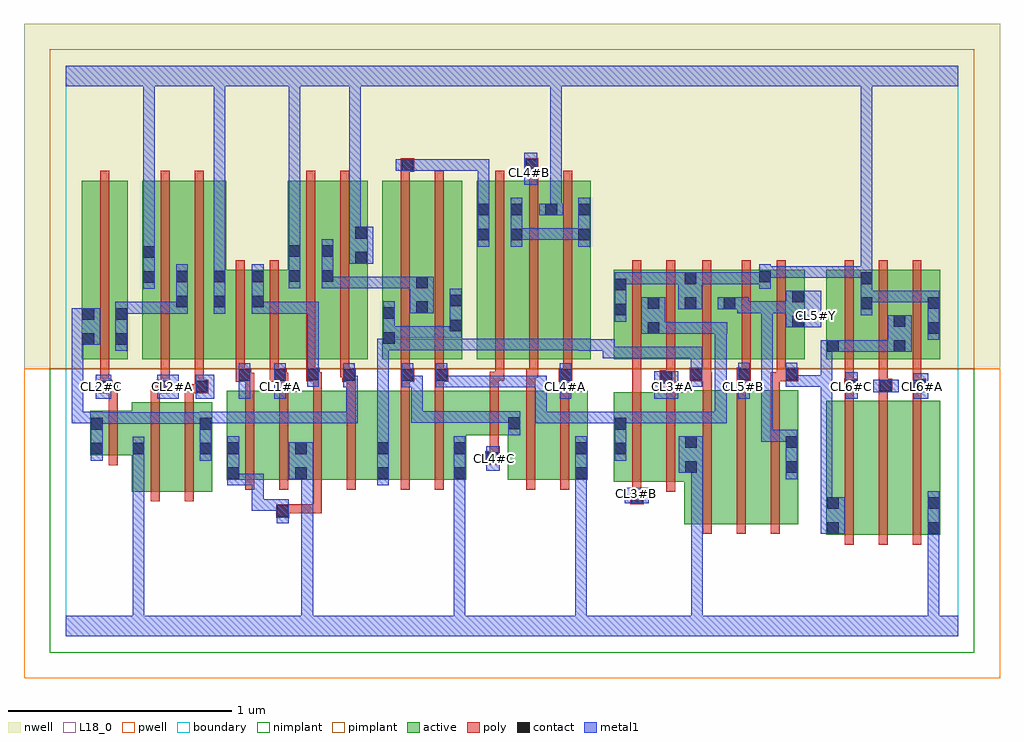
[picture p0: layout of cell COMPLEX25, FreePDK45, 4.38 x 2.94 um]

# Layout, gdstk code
import gdstk
lib = gdstk.Library(unit=1e-6, precision=1e-09)
def R(c, l, rs):  # rectangles x0, y0, x1, y1
    for r in rs: c.add(gdstk.rectangle(r[:2], r[2:], *l))
def A(c, l, x, y, w, h, nx, ny, dx, dy):  # array of equal rectangles
    R(c, l, [(x+i*dx, y+j*dy, x+i*dx+w, y+j*dy+h) for i in range(nx) for j in range(ny)])
active = (1, 0)
pwell = (2, 0)
nwell = (3, 0)
nimplant = (4, 0)
pimplant = (5, 0)
poly = (9, 0)
contact = (10, 0)
metal1 = (11, 0)
L18_0 = (18, 0)
boundary = (235, 0)

complex25 = lib.new_cell('COMPLEX25')
A(complex25, active, 0.994, 1.244, 0.208, 0.8, 3, 1, 0.424, 0)
R(complex25, active, [(3.408,0.456,3.468,1.056), (3.408,0.456,3.588,1.056), (3.588,0.456,3.74,1.056), (3.74,0.456,3.92,1.056), (3.86,0.456,3.92,1.056), (2.772,0.504,2.952,1.104), (2.952,0.504,3.104,1.104), (3.104,0.504,3.284,1.104), (3.224,0.556,3.284,1.104), (0.296,0.65,0.476,1.05), (0.476,0.65,0.656,1.05), (2.456,0.694,2.636,1.094), (2.636,0.694,2.832,1.094), (0.72,0.702,0.9,1.102), (0.72,0.702,0.78,1.102), (0.9,0.702,1.084,1.102), (1.024,0.702,1.084,0.874), (1.024,0.702,1.204,1.102), (1.204,0.702,1.452,1.102), (1.392,0.702,1.452,0.874), (1.392,0.702,1.598,1.102), (1.598,0.702,1.794,1.102), (1.734,0.702,1.794,0.902), (1.98,0.702,2.16,1.102), (2.16,0.702,2.34,1.102), (2.28,0.702,2.34,1.102), (2.772,0.73,2.832,0.902), (0.596,0.756,0.656,1.05), (2.456,0.756,2.516,1.094), (0.108,0.812,0.168,1.012), (0.108,0.812,0.356,1.012), (0.296,0.812,0.356,1.012), (1.734,0.902,2.04,1.102), (1.98,0.926,2.04,0.986), (0.07,1.244,0.13,2.044), (0.07,1.244,0.278,2.044), (0.218,1.244,0.278,2.044), (0.342,1.244,0.402,2.044), (0.342,1.244,0.55,2.044), (0.49,1.244,0.718,2.044), (0.658,1.244,0.89,1.644), (0.83,1.244,0.89,1.644), (0.83,1.244,1.054,1.644), (1.142,1.244,1.202,2.044), (1.142,1.244,1.354,2.044), (1.418,1.244,1.478,2.044), (1.566,1.244,1.626,2.044), (1.566,1.244,1.778,2.044), (1.718,1.244,1.778,2.044), (1.842,1.244,1.902,2.044), (1.99,1.244,2.206,2.044), (2.146,1.244,2.354,2.044), (2.294,1.244,2.354,2.044), (2.456,1.244,2.516,1.644), (2.456,1.244,2.664,1.644), (2.604,1.244,2.664,1.644), (2.604,1.244,2.83,1.644), (2.77,1.244,2.83,1.644), (2.77,1.244,3.006,1.644), (2.946,1.244,3.006,1.644), (2.946,1.244,3.164,1.644), (3.104,1.244,3.164,1.644), (3.104,1.244,3.312,1.644), (3.252,1.244,3.312,1.644), (3.408,1.244,3.468,1.644), (3.408,1.244,3.62,1.644), (3.56,1.244,3.62,1.644), (3.56,1.244,3.768,1.644), (3.708,1.244,3.768,1.644), (3.708,1.244,3.92,1.644), (3.86,1.244,3.92,1.644), (1.294,1.452,1.354,2.044), (0.49,1.472,0.55,2.044), (0.658,1.472,0.718,1.644), (0.994,1.586,1.054,1.758), (1.99,1.686,2.05,2.044), (2.146,1.686,2.206,2.044)])
R(complex25, pwell, [(-0.188,-0.188,4.188,1.2)])
R(complex25, nwell, [(-0.188,1.2,4.188,2.748)])
R(complex25, nimplant, [(-0.072,-0.072,4.072,1.2)])
R(complex25, pimplant, [(-0.072,1.2,4.072,2.632)])
A(complex25, poly, 3.492, 0.412, 0.04, 0.688, 3, 1, 0.152, 0)
A(complex25, poly, 2.856, 0.46, 0.04, 0.688, 3, 1, 0.152, 0)
A(complex25, poly, 0.804, 0.658, 0.04, 0.488, 4, 1, 0.152, 0)
A(complex25, poly, 3.492, 1.06, 0.04, 0.076, 3, 1, 0.152, 0)
A(complex25, poly, 2.856, 1.108, 0.04, 0.076, 3, 1, 0.152, 0)
A(complex25, poly, 3.492, 1.116, 0.04, 0.124, 3, 1, 0.152, 0)
A(complex25, poly, 1.926, 1.2, 0.04, 0.888, 3, 1, 0.152, 0)
A(complex25, poly, 3.492, 1.2, 0.04, 0.488, 3, 1, 0.152, 0)
R(complex25, poly, [(0.942,0.532,1.002,0.592), (0.962,0.552,1.148,0.592), (1.108,0.552,1.148,0.592), (1.108,0.552,1.148,0.592), (1.108,0.552,1.148,0.592), (1.108,0.552,1.148,0.698), (2.53,0.594,2.59,0.654), (0.38,0.606,0.42,1.094), (0.532,0.606,0.572,1.094), (2.54,0.614,2.58,0.69), (2.54,0.65,2.58,1.138), (2.692,0.65,2.732,1.138), (1.502,0.658,1.542,1.146), (1.654,0.658,1.694,1.146), (2.064,0.658,2.104,1.146), (2.216,0.658,2.256,1.146), (0.192,0.768,0.232,1.056), (1.88,0.77,1.94,0.83), (1.9,0.79,1.94,0.898), (1.9,0.858,1.94,1.146), (0.192,1.016,0.232,1.13), (0.38,1.054,0.42,1.13), (0.532,1.054,0.572,1.13), (0.148,1.09,0.208,1.15), (0.168,1.09,0.208,1.13), (0.168,1.09,0.232,1.13), (0.38,1.09,0.446,1.13), (0.406,1.09,0.446,1.13), (0.406,1.09,0.466,1.15), (0.532,1.09,0.618,1.13), (0.578,1.09,0.618,1.13), (0.578,1.09,0.638,1.15), (3.49,1.096,3.55,1.156), (3.644,1.096,3.684,1.136), (3.644,1.096,3.684,1.136), (3.644,1.096,3.704,1.156), (3.796,1.096,3.856,1.156), (2.54,1.098,2.58,1.174), (2.692,1.098,2.732,1.174), (0.804,1.106,0.844,1.182), (0.956,1.106,0.996,1.182), (1.108,1.106,1.148,1.184), (1.26,1.106,1.3,1.182), (1.502,1.106,1.542,1.182), (1.654,1.106,1.694,1.182), (1.9,1.106,1.94,1.186), (2.064,1.106,2.104,1.2), (2.216,1.106,2.256,1.182), (0.154,1.11,0.194,1.24), (0.426,1.11,0.466,1.24), (0.578,1.11,0.618,1.24), (3.492,1.116,3.532,1.156), (3.492,1.116,3.532,1.156), (3.796,1.116,3.836,1.156), (3.796,1.116,3.836,1.156), (2.54,1.134,2.58,1.174), (2.54,1.134,2.58,1.174), (2.54,1.134,2.58,1.174), (2.54,1.134,2.58,1.24), (2.662,1.134,2.732,1.194), (0.762,1.142,0.83,1.202), (0.79,1.142,0.83,1.182), (0.79,1.142,0.844,1.182), (0.914,1.142,0.99,1.202), (0.95,1.142,0.99,1.182), (0.95,1.142,0.996,1.182), (1.24,1.142,1.3,1.202), (1.502,1.142,1.562,1.202), (1.654,1.142,1.714,1.202), (2.21,1.142,2.27,1.202), (1.078,1.144,1.138,1.204), (1.098,1.144,1.138,1.184), (1.098,1.144,1.148,1.184), (2.798,1.144,2.894,1.204), (2.854,1.144,2.894,1.184), (2.854,1.144,2.896,1.184), (3.008,1.144,3.07,1.204), (3.16,1.144,3.228,1.184), (3.188,1.144,3.228,1.184), (3.188,1.144,3.284,1.204), (1.9,1.146,1.954,1.186), (1.914,1.146,1.954,1.186), (1.914,1.146,1.966,1.186), (1.926,1.146,1.966,1.24), (2.692,1.154,2.732,1.194), (2.692,1.154,2.732,1.194), (2.692,1.154,2.732,1.24), (2.064,1.16,2.118,1.2), (2.078,1.16,2.118,1.2), (2.078,1.16,2.118,1.2), (2.078,1.16,2.118,1.24), (0.762,1.162,0.802,1.24), (0.914,1.162,0.954,1.24), (1.23,1.162,1.27,1.24), (1.23,1.162,1.28,1.202), (1.24,1.162,1.28,1.202), (1.502,1.162,1.542,1.202), (1.502,1.162,1.542,1.202), (1.502,1.162,1.542,1.24), (1.654,1.162,1.694,1.202), (1.654,1.162,1.694,1.202), (1.654,1.162,1.694,1.24), (2.23,1.162,2.27,1.202), (2.23,1.162,2.27,1.202), (2.23,1.162,2.27,1.24), (1.078,1.164,1.118,1.24), (2.854,1.164,2.894,1.24), (3.03,1.164,3.07,1.204), (3.03,1.164,3.07,1.204), (3.03,1.164,3.07,1.24), (3.188,1.164,3.228,1.24), (0.154,1.2,0.194,2.088), (0.426,1.2,0.466,2.088), (0.578,1.2,0.618,2.088), (0.762,1.2,0.802,1.688), (0.914,1.2,0.954,1.688), (1.078,1.2,1.118,2.088), (1.23,1.2,1.27,2.088), (1.502,1.2,1.542,2.088), (1.654,1.2,1.694,2.088), (2.54,1.2,2.58,1.688), (2.692,1.2,2.732,1.688), (2.854,1.2,2.894,1.688), (3.03,1.2,3.07,1.688), (3.188,1.2,3.228,1.688), (1.502,2.048,1.542,2.124), (2.078,2.048,2.118,2.124), (1.502,2.084,1.562,2.144), (2.058,2.084,2.118,2.144)])
R(complex25, contact, [(3.412,0.46,3.464,0.512), (3.864,0.46,3.916,0.512), (0.946,0.536,0.998,0.588), (3.412,0.572,3.464,0.624), (3.864,0.572,3.916,0.624), (2.534,0.598,2.586,0.65), (0.724,0.706,0.776,0.758), (1.028,0.706,1.08,0.758), (1.396,0.706,1.448,0.758), (1.738,0.706,1.79,0.758), (2.284,0.706,2.336,0.758), (2.776,0.734,2.828,0.786), (3.228,0.734,3.28,0.786), (1.884,0.774,1.936,0.826), (0.112,0.816,0.164,0.868), (0.3,0.816,0.352,0.868), (0.6,0.816,0.652,0.868), (2.46,0.816,2.512,0.868), (0.724,0.818,0.776,0.87), (1.028,0.818,1.08,0.87), (1.396,0.818,1.448,0.87), (1.738,0.818,1.79,0.87), (2.284,0.818,2.336,0.87), (2.776,0.846,2.828,0.898), (3.228,0.846,3.28,0.898), (0.112,0.928,0.164,0.98), (0.6,0.928,0.652,0.98), (2.46,0.928,2.512,0.98), (1.984,0.93,2.036,0.982), (0.152,1.094,0.204,1.146), (0.41,1.094,0.462,1.146), (0.582,1.094,0.634,1.146), (3.494,1.1,3.546,1.152), (3.648,1.1,3.7,1.152), (3.8,1.1,3.852,1.152), (2.666,1.138,2.718,1.19), (0.774,1.146,0.826,1.198), (0.934,1.146,0.986,1.198), (1.244,1.146,1.296,1.198), (1.506,1.146,1.558,1.198), (1.658,1.146,1.71,1.198), (2.214,1.146,2.266,1.198), (1.082,1.148,1.134,1.2), (2.802,1.148,2.854,1.2), (3.014,1.148,3.066,1.2), (3.228,1.148,3.28,1.2), (3.412,1.276,3.464,1.328), (3.712,1.276,3.764,1.328), (0.074,1.308,0.126,1.36), (0.222,1.308,0.274,1.36), (1.422,1.312,1.474,1.364), (2.608,1.358,2.66,1.41), (3.864,1.358,3.916,1.41), (1.722,1.368,1.774,1.42), (3.256,1.386,3.308,1.438), (3.712,1.388,3.764,1.44), (0.074,1.42,0.126,1.472), (0.222,1.42,0.274,1.472), (1.422,1.424,1.474,1.476), (2.46,1.44,2.512,1.492), (1.57,1.45,1.622,1.502), (2.774,1.468,2.826,1.52), (2.95,1.468,3.002,1.52), (3.564,1.468,3.616,1.52), (2.608,1.47,2.66,1.522), (3.864,1.47,3.916,1.522), (0.494,1.476,0.546,1.528), (0.662,1.476,0.714,1.528), (0.834,1.476,0.886,1.528), (1.722,1.48,1.774,1.532), (3.256,1.498,3.308,1.55), (2.46,1.552,2.512,1.604), (1.57,1.562,1.622,1.614), (2.774,1.58,2.826,1.632), (3.564,1.58,3.616,1.632), (0.346,1.586,0.398,1.638), (0.494,1.588,0.546,1.64), (0.662,1.588,0.714,1.64), (0.834,1.588,0.886,1.64), (3.108,1.588,3.16,1.64), (0.998,1.59,1.05,1.642), (1.146,1.59,1.198,1.642), (1.298,1.672,1.35,1.724), (0.346,1.698,0.398,1.75), (0.998,1.702,1.05,1.754), (1.146,1.702,1.198,1.754), (1.846,1.776,1.898,1.828), (1.994,1.776,2.046,1.828), (2.298,1.776,2.35,1.828), (1.298,1.784,1.35,1.836), (1.846,1.888,1.898,1.94), (1.994,1.888,2.046,1.94), (2.15,1.888,2.202,1.94), (2.298,1.888,2.35,1.94), (1.506,2.088,1.558,2.14), (2.062,2.088,2.114,2.14)])
R(complex25, metal1, [(0,0,4,0.092), (0.3,0.04,0.352,0.092), (0.3,0.04,0.352,0.092), (0.3,0.04,0.352,0.092), (0.3,0.04,0.352,0.092), (0.3,0.04,0.352,0.84), (1.056,0.04,1.108,0.092), (1.056,0.04,1.108,0.092), (1.056,0.04,1.108,0.758), (1.738,0.04,1.79,0.092), (1.738,0.04,1.79,0.092), (1.738,0.04,1.79,0.73), (2.284,0.04,2.336,0.092), (2.284,0.04,2.336,0.092), (2.284,0.04,2.336,0.73), (2.804,0.04,2.856,0.092), (2.804,0.04,2.856,0.092), (2.804,0.04,2.856,0.092), (2.804,0.04,2.856,0.092), (2.804,0.04,2.856,0.092), (2.804,0.04,2.856,0.092), (2.804,0.04,2.856,0.786), (3.864,0.04,3.916,0.092), (3.864,0.04,3.916,0.092), (3.864,0.04,3.916,0.092), (3.864,0.04,3.916,0.092), (3.864,0.04,3.916,0.092), (3.864,0.04,3.916,0.092), (3.864,0.04,3.916,0.092), (3.864,0.04,3.916,0.092), (3.864,0.04,3.916,0.484), (3.864,0.432,3.916,0.652), (3.384,0.46,3.492,0.624), (0.946,0.508,0.998,0.616), (0.834,0.564,0.886,0.616), (0.834,0.564,0.998,0.616), (0.834,0.564,0.886,0.73), (3.384,0.572,3.436,0.624), (3.384,0.572,3.436,0.624), (3.384,0.572,3.436,1.172), (2.506,0.598,2.614,0.666), (0.724,0.678,0.776,0.73), (0.724,0.678,0.776,0.73), (0.724,0.678,0.776,0.898), (0.724,0.678,0.886,0.73), (0.834,0.678,0.886,0.73), (1.396,0.678,1.448,0.898), (1.738,0.678,1.79,0.73), (1.738,0.678,1.79,0.73), (1.738,0.678,1.79,0.73), (1.738,0.678,1.79,0.73), (1.738,0.678,1.79,0.73), (1.738,0.678,1.79,0.73), (1.738,0.678,1.79,0.73), (1.738,0.678,1.79,0.73), (1.738,0.678,1.79,0.73), (1.738,0.678,1.79,0.73), (1.738,0.678,1.79,0.898), (2.284,0.678,2.336,0.73), (2.284,0.678,2.336,0.73), (2.284,0.678,2.336,0.73), (2.284,0.678,2.336,0.73), (2.284,0.678,2.336,0.73), (2.284,0.678,2.336,0.73), (2.284,0.678,2.336,0.73), (2.284,0.678,2.336,0.73), (2.284,0.678,2.336,0.73), (2.284,0.678,2.336,0.73), (2.284,0.678,2.336,0.898), (1,0.706,1.108,0.87), (1.056,0.706,1.108,0.758), (1.056,0.706,1.108,0.758), (1.056,0.706,1.108,0.758), (1.056,0.706,1.108,0.758), (1.056,0.706,1.108,0.758), (1.056,0.706,1.108,0.758), (1.056,0.706,1.108,0.758), (1.056,0.706,1.108,0.758), (1.056,0.706,1.108,0.758), (1.056,0.706,1.108,0.758), (3.228,0.706,3.28,0.926), (2.748,0.734,2.856,0.898), (2.804,0.734,2.856,0.786), (2.804,0.734,2.856,0.786), (1.884,0.744,1.946,0.854), (0.112,0.788,0.164,1.008), (0.3,0.788,0.352,0.84), (0.3,0.788,0.352,0.84), (0.3,0.788,0.352,0.84), (0.3,0.788,0.352,0.84), (0.3,0.788,0.352,0.84), (0.3,0.788,0.352,0.84), (0.3,0.788,0.352,0.84), (0.3,0.788,0.352,0.84), (0.3,0.788,0.352,0.896), (0.6,0.788,0.652,1.008), (2.46,0.788,2.512,1.008), (1.396,0.846,1.448,0.898), (1.396,0.846,1.448,0.898), (1.396,0.846,1.448,1.336), (3.118,0.874,3.17,0.926), (3.118,0.874,3.28,0.926), (3.118,0.874,3.17,1.502), (3.228,0.874,3.28,0.926), (3.228,0.874,3.28,0.926), (1.984,0.902,2.036,1.01), (0.112,0.954,0.164,1.006), (0.112,0.954,0.164,1.006), (0.112,0.954,0.314,1.006), (0.262,0.954,0.314,1.006), (0.262,0.954,0.314,1.006), (0.262,0.954,0.314,1.006), (0.262,0.954,0.524,1.006), (0.472,0.954,0.524,1.006), (0.472,0.954,0.524,1.006), (0.472,0.954,0.524,1.006), (0.472,0.954,0.652,1.006), (0.6,0.954,0.652,1.006), (0.6,0.954,0.652,1.006), (0.026,0.956,0.078,1.008), (0.026,0.956,0.078,1.008), (0.026,0.956,0.078,1.36), (0.026,0.956,0.164,1.008), (0.112,0.956,0.164,1.008), (0.6,0.956,0.762,1.008), (0.71,0.956,0.762,1.008), (0.71,0.956,0.762,1.008), (0.71,0.956,0.762,1.008), (0.71,0.956,0.886,1.008), (0.834,0.956,0.886,1.008), (0.834,0.956,0.996,1.008), (0.944,0.956,0.996,1.008), (0.944,0.956,0.996,1.008), (0.944,0.956,0.996,1.008), (0.944,0.956,1.186,1.008), (1.134,0.956,1.186,1.008), (1.134,0.956,1.186,1.008), (1.134,0.956,1.186,1.008), (1.134,0.956,1.308,1.008), (1.256,0.956,1.308,1.008), (1.256,0.956,1.308,1.008), (1.256,0.956,1.308,1.008), (1.256,0.956,1.308,1.17), (2.104,0.956,2.156,1.008), (2.104,0.956,2.336,1.008), (2.104,0.956,2.156,1.17), (2.284,0.956,2.336,1.008), (2.284,0.956,2.336,1.008), (2.284,0.956,2.336,1.008), (2.284,0.956,2.512,1.008), (2.46,0.956,2.512,1.008), (2.46,0.956,2.512,1.008), (2.46,0.956,2.688,1.008), (2.636,0.956,2.688,1.008), (2.636,0.956,2.688,1.008), (2.636,0.956,2.688,1.008), (2.636,0.956,2.852,1.008), (2.8,0.956,2.852,1.008), (2.8,0.956,2.852,1.008), (2.8,0.956,2.852,1.008), (2.8,0.956,2.962,1.008), (2.91,0.956,2.962,1.008), (2.91,0.956,2.962,1.008), (2.91,0.956,2.962,1.008), (2.91,0.956,2.962,1.41), (1.548,0.958,1.6,1.01), (1.548,0.958,1.74,1.01), (1.548,0.958,1.6,1.17), (1.688,0.958,1.74,1.01), (1.688,0.958,1.74,1.01), (1.688,0.958,1.74,1.01), (1.688,0.958,1.914,1.01), (1.862,0.958,1.914,1.01), (1.862,0.958,1.914,1.01), (1.862,0.958,1.914,1.01), (1.862,0.958,2.036,1.01), (0.134,1.066,0.204,1.174), (0.41,1.066,0.506,1.174), (0.582,1.066,0.666,1.174), (0.774,1.066,0.826,1.226), (0.934,1.066,0.986,1.226), (2.214,1.066,2.266,1.226), (2.638,1.066,2.746,1.19), (3.014,1.066,3.066,1.228), (3.494,1.066,3.55,1.184), (3.8,1.066,3.866,1.18), (3.62,1.094,3.734,1.152), (1.244,1.118,1.296,1.226), (1.244,1.118,1.308,1.17), (1.256,1.118,1.308,1.17), (1.506,1.118,1.558,1.226), (1.506,1.118,1.6,1.17), (1.548,1.118,1.6,1.17), (1.658,1.118,1.71,1.17), (1.658,1.118,1.71,1.17), (1.658,1.118,1.71,1.226), (1.658,1.118,1.884,1.17), (1.832,1.118,1.884,1.17), (1.832,1.118,1.884,1.17), (1.832,1.118,1.884,1.17), (1.832,1.118,2.036,1.17), (1.984,1.118,2.036,1.17), (1.984,1.118,2.036,1.17), (1.984,1.118,2.036,1.17), (1.984,1.118,2.156,1.17), (2.104,1.118,2.156,1.17), (1.082,1.12,1.134,1.228), (2.802,1.12,2.854,1.228), (3.228,1.12,3.28,1.172), (3.228,1.12,3.28,1.172), (3.228,1.12,3.436,1.172), (3.228,1.12,3.28,1.228), (3.384,1.12,3.436,1.172), (3.384,1.12,3.436,1.328), (1.082,1.176,1.134,1.228), (1.082,1.176,1.134,1.228), (1.082,1.176,1.134,1.5), (2.802,1.176,2.854,1.228), (2.802,1.176,2.854,1.3), (2.408,1.248,2.46,1.3), (2.408,1.248,2.46,1.3), (2.408,1.248,2.622,1.3), (2.408,1.248,2.46,1.332), (2.57,1.248,2.622,1.3), (2.57,1.248,2.622,1.3), (2.57,1.248,2.622,1.3), (2.57,1.248,2.854,1.3), (3.384,1.276,3.492,1.328), (3.44,1.276,3.492,1.328), (3.44,1.276,3.492,1.328), (3.44,1.276,3.616,1.328), (3.564,1.276,3.616,1.328), (3.564,1.276,3.616,1.328), (3.564,1.276,3.616,1.328), (3.564,1.276,3.736,1.328), (3.684,1.276,3.792,1.44), (0.222,1.28,0.274,1.5), (2.298,1.28,2.46,1.332), (2.298,1.28,2.35,1.336), (1.396,1.284,1.474,1.336), (1.422,1.284,1.474,1.336), (1.422,1.284,1.474,1.336), (1.422,1.284,1.474,1.336), (1.422,1.284,1.474,1.504), (1.422,1.284,1.6,1.336), (1.548,1.284,1.6,1.336), (1.548,1.284,1.774,1.336), (1.722,1.284,1.774,1.336), (1.722,1.284,1.774,1.336), (1.722,1.284,1.774,1.336), (1.722,1.284,1.926,1.336), (1.874,1.284,1.926,1.336), (1.874,1.284,1.926,1.336), (1.874,1.284,1.926,1.336), (1.874,1.284,2.046,1.336), (1.994,1.284,2.046,1.336), (1.994,1.284,2.046,1.336), (1.994,1.284,2.046,1.336), (1.994,1.284,2.226,1.336), (2.174,1.284,2.226,1.336), (2.174,1.284,2.35,1.336), (2.298,1.284,2.35,1.336), (2.298,1.284,2.35,1.336), (0.026,1.308,0.154,1.472), (3.864,1.33,3.916,1.55), (1.422,1.34,1.474,1.392), (1.422,1.34,1.474,1.392), (1.422,1.34,1.6,1.392), (1.548,1.34,1.6,1.392), (1.548,1.34,1.774,1.392), (1.722,1.34,1.774,1.392), (1.722,1.34,1.774,1.392), (1.722,1.34,1.774,1.56), (2.58,1.358,2.688,1.522), (2.636,1.358,2.688,1.41), (2.636,1.358,2.688,1.41), (2.636,1.358,2.852,1.41), (2.8,1.358,2.852,1.41), (2.8,1.358,2.852,1.41), (2.8,1.358,2.852,1.41), (2.8,1.358,2.964,1.41), (2.91,1.358,2.964,1.41), (2.912,1.358,2.964,1.41), (2.912,1.358,2.964,1.41), (3.228,1.386,3.386,1.55), (2.46,1.412,2.512,1.632), (3.564,1.44,3.616,1.66), (0.222,1.448,0.274,1.5), (0.222,1.448,0.274,1.5), (0.222,1.448,0.524,1.5), (0.472,1.448,0.524,1.5), (0.472,1.448,0.546,1.5), (0.494,1.448,0.546,1.668), (0.662,1.448,0.714,1.668), (0.834,1.448,0.886,1.5), (0.834,1.448,0.886,1.5), (0.834,1.448,0.886,1.668), (0.834,1.448,0.996,1.5), (0.944,1.448,0.996,1.5), (0.944,1.448,1.134,1.5), (1.082,1.448,1.134,1.5), (1.082,1.448,1.134,1.5), (1.082,1.448,1.134,1.5), (1.542,1.45,1.65,1.614), (3.01,1.45,3.17,1.502), (3.01,1.45,3.062,1.52), (3.118,1.45,3.17,1.502), (3.118,1.45,3.17,1.502), (3.118,1.45,3.17,1.502), (3.118,1.45,3.17,1.502), (3.118,1.45,3.17,1.502), (3.118,1.45,3.17,1.502), (3.118,1.45,3.17,1.502), (3.118,1.45,3.17,1.502), (3.118,1.45,3.17,1.502), (3.118,1.45,3.28,1.502), (3.228,1.45,3.28,1.502), (3.228,1.45,3.28,1.502), (2.746,1.468,2.854,1.632), (2.922,1.468,3.03,1.52), (2.978,1.468,3.062,1.52), (3.564,1.498,3.616,1.55), (3.564,1.498,3.616,1.55), (3.564,1.498,3.726,1.55), (3.674,1.498,3.726,1.55), (3.674,1.498,3.916,1.55), (3.864,1.498,3.916,1.55), (3.864,1.498,3.916,1.55), (0.346,1.558,0.398,1.778), (3.108,1.56,3.16,1.668), (0.998,1.562,1.05,1.782), (1.146,1.562,1.198,1.782), (1.146,1.562,1.308,1.614), (1.256,1.562,1.308,1.614), (1.256,1.562,1.308,1.614), (1.256,1.562,1.308,1.614), (1.256,1.562,1.476,1.614), (1.424,1.562,1.476,1.614), (1.424,1.562,1.476,1.614), (1.424,1.562,1.476,1.614), (1.424,1.562,1.594,1.614), (2.46,1.58,2.512,1.632), (2.46,1.58,2.512,1.632), (2.46,1.58,2.688,1.632), (2.636,1.58,2.688,1.632), (2.636,1.58,2.688,1.632), (2.636,1.58,2.688,1.632), (2.636,1.58,2.798,1.632), (2.802,1.58,2.854,1.632), (2.802,1.58,2.854,1.632), (2.802,1.58,2.964,1.632), (2.912,1.58,2.964,1.632), (2.912,1.58,3.16,1.632), (3.108,1.58,3.16,1.632), (3.108,1.58,3.16,1.632), (3.108,1.608,3.326,1.66), (3.274,1.608,3.326,1.66), (3.274,1.608,3.326,1.66), (3.274,1.608,3.326,1.66), (3.274,1.608,3.436,1.66), (3.384,1.608,3.436,1.66), (3.384,1.608,3.436,1.66), (3.384,1.608,3.436,1.66), (3.384,1.608,3.616,1.66), (3.564,1.608,3.616,2.52), (0.662,1.616,0.714,1.668), (0.662,1.616,0.714,1.668), (0.662,1.616,0.714,1.668), (0.662,1.616,0.714,1.668), (0.662,1.616,0.714,2.52), (1.27,1.672,1.378,1.836), (0.346,1.726,0.398,1.778), (0.346,1.726,0.398,1.778), (0.346,1.726,0.398,1.778), (0.346,1.726,0.398,1.778), (0.346,1.726,0.398,2.52), (0.998,1.73,1.05,2.52), (1.846,1.748,1.898,1.968), (1.994,1.748,2.046,1.968), (2.298,1.748,2.35,1.968), (1.994,1.778,2.046,1.83), (1.994,1.778,2.046,1.83), (1.994,1.778,2.226,1.83), (2.174,1.778,2.226,1.83), (2.174,1.778,2.35,1.83), (2.298,1.778,2.35,1.83), (2.298,1.778,2.35,1.83), (1.27,1.784,1.322,2.52), (2.122,1.888,2.23,1.94), (2.172,1.888,2.224,1.94), (2.172,1.888,2.224,1.94), (2.172,1.888,2.224,2.52), (1.846,1.916,1.898,2.14), (2.054,2.026,2.114,2.168), (1.478,2.088,1.586,2.14), (1.534,2.088,1.586,2.14), (1.534,2.088,1.586,2.14), (1.534,2.088,1.774,2.14), (1.722,2.088,1.774,2.14), (1.722,2.088,1.774,2.14), (1.722,2.088,1.774,2.14), (1.722,2.088,1.898,2.14), (1.846,2.088,1.898,2.14), (0,2.468,4,2.56), (0.346,2.468,0.398,2.52), (0.346,2.468,0.398,2.52), (0.346,2.468,0.398,2.52), (0.346,2.468,0.398,2.52), (0.662,2.468,0.714,2.52), (0.662,2.468,0.714,2.52), (0.662,2.468,0.714,2.52), (0.662,2.468,0.714,2.52), (0.998,2.468,1.05,2.52), (0.998,2.468,1.05,2.52), (0.998,2.468,1.05,2.52), (0.998,2.468,1.05,2.52), (0.998,2.468,1.05,2.52), (0.998,2.468,1.05,2.52), (0.998,2.468,1.05,2.52), (0.998,2.468,1.05,2.52), (1.27,2.468,1.322,2.52), (1.27,2.468,1.322,2.52), (1.27,2.468,1.322,2.52), (1.27,2.468,1.322,2.52), (1.27,2.468,1.322,2.52), (1.27,2.468,1.322,2.52), (1.27,2.468,1.322,2.52), (1.27,2.468,1.322,2.52), (2.172,2.468,2.224,2.52), (2.172,2.468,2.224,2.52), (2.172,2.468,2.224,2.52), (2.172,2.468,2.224,2.52), (2.172,2.468,2.224,2.52), (2.172,2.468,2.224,2.52), (3.564,2.468,3.616,2.52), (3.564,2.468,3.616,2.52), (3.564,2.468,3.616,2.52), (3.564,2.468,3.616,2.52), (3.564,2.468,3.616,2.52), (3.564,2.468,3.616,2.52), (3.564,2.468,3.616,2.52), (3.564,2.468,3.616,2.52), (3.564,2.468,3.616,2.52), (3.564,2.468,3.616,2.52), (3.564,2.468,3.616,2.52), (3.564,2.468,3.616,2.52), (3.564,2.468,3.616,2.52), (3.564,2.468,3.616,2.52), (3.564,2.468,3.616,2.52), (3.564,2.468,3.616,2.52)])
A(complex25, L18_0, 0.454, 1.094, 0.052, 0.052, 4, 1, 0.16, 0)
A(complex25, L18_0, 3.494, 1.094, 0.052, 0.052, 3, 1, 0.16, 0)
R(complex25, L18_0, [(0,0,4,0.092), (0.3,0.04,0.352,0.092), (0.3,0.04,0.352,0.092), (0.3,0.04,0.352,0.092), (0.3,0.04,0.352,0.092), (0.3,0.04,0.352,0.84), (1.056,0.04,1.108,0.092), (1.056,0.04,1.108,0.092), (1.056,0.04,1.108,0.758), (1.738,0.04,1.79,0.092), (1.738,0.04,1.79,0.092), (1.738,0.04,1.79,0.73), (2.284,0.04,2.336,0.092), (2.284,0.04,2.336,0.092), (2.284,0.04,2.336,0.73), (2.804,0.04,2.856,0.092), (2.804,0.04,2.856,0.092), (2.804,0.04,2.856,0.092), (2.804,0.04,2.856,0.092), (2.804,0.04,2.856,0.092), (2.804,0.04,2.856,0.092), (2.804,0.04,2.856,0.786), (3.864,0.04,3.916,0.092), (3.864,0.04,3.916,0.092), (3.864,0.04,3.916,0.092), (3.864,0.04,3.916,0.092), (3.864,0.04,3.916,0.092), (3.864,0.04,3.916,0.092), (3.864,0.04,3.916,0.092), (3.864,0.04,3.916,0.092), (3.864,0.04,3.916,0.484), (3.864,0.432,3.916,0.652), (2.506,0.598,2.614,0.666), (2.534,0.614,2.586,0.666), (1.738,0.678,1.79,0.73), (1.738,0.678,1.79,0.73), (1.738,0.678,1.79,0.73), (1.738,0.678,1.79,0.73), (1.738,0.678,1.79,0.73), (1.738,0.678,1.79,0.73), (1.738,0.678,1.79,0.73), (1.738,0.678,1.79,0.73), (1.738,0.678,1.79,0.73), (1.738,0.678,1.79,0.73), (1.738,0.678,1.79,0.898), (2.284,0.678,2.336,0.73), (2.284,0.678,2.336,0.73), (2.284,0.678,2.336,0.73), (2.284,0.678,2.336,0.73), (2.284,0.678,2.336,0.73), (2.284,0.678,2.336,0.73), (2.284,0.678,2.336,0.73), (2.284,0.678,2.336,0.73), (2.284,0.678,2.336,0.73), (2.284,0.678,2.336,0.73), (2.284,0.678,2.336,0.898), (1,0.706,1.108,0.87), (1.056,0.706,1.108,0.758), (1.056,0.706,1.108,0.758), (1.056,0.706,1.108,0.758), (1.056,0.706,1.108,0.758), (1.056,0.706,1.108,0.758), (1.056,0.706,1.108,0.758), (1.056,0.706,1.108,0.758), (1.056,0.706,1.108,0.758), (1.056,0.706,1.108,0.758), (1.056,0.706,1.108,0.758), (3.228,0.706,3.28,0.926), (2.748,0.734,2.856,0.898), (2.804,0.734,2.856,0.786), (2.804,0.734,2.856,0.786), (1.884,0.744,1.946,0.854), (1.894,0.774,1.946,0.826), (0.3,0.788,0.352,0.84), (0.3,0.788,0.352,0.84), (0.3,0.788,0.352,0.84), (0.3,0.788,0.352,0.84), (0.3,0.788,0.352,0.84), (0.3,0.788,0.352,0.84), (0.3,0.788,0.352,0.84), (0.3,0.788,0.352,0.84), (0.3,0.788,0.352,0.896), (3.118,0.874,3.17,0.926), (3.118,0.874,3.28,0.926), (3.118,0.874,3.17,1.502), (3.228,0.874,3.28,0.926), (3.228,0.874,3.28,0.926), (0.134,1.066,0.204,1.174), (0.41,1.066,0.506,1.174), (0.582,1.066,0.666,1.174), (0.774,1.066,0.826,1.226), (0.934,1.066,0.986,1.226), (2.214,1.066,2.266,1.226), (2.638,1.066,2.746,1.19), (3.014,1.066,3.066,1.228), (3.494,1.066,3.55,1.184), (3.8,1.066,3.866,1.18), (0.134,1.094,0.186,1.146), (2.214,1.094,2.266,1.146), (2.694,1.094,2.746,1.146), (3.014,1.094,3.066,1.146), (3.62,1.094,3.734,1.152), (3.864,1.33,3.916,1.55), (3.228,1.386,3.386,1.55), (2.46,1.412,2.512,1.632), (3.334,1.414,3.386,1.466), (3.564,1.44,3.616,1.66), (0.662,1.448,0.714,1.668), (3.01,1.45,3.062,1.52), (3.01,1.45,3.17,1.502), (3.118,1.45,3.17,1.502), (3.118,1.45,3.17,1.502), (3.118,1.45,3.17,1.502), (3.118,1.45,3.17,1.502), (3.118,1.45,3.17,1.502), (3.118,1.45,3.17,1.502), (3.118,1.45,3.17,1.502), (3.118,1.45,3.17,1.502), (3.118,1.45,3.17,1.502), (3.118,1.45,3.28,1.502), (3.228,1.45,3.28,1.502), (3.228,1.45,3.28,1.502), (2.746,1.468,2.854,1.632), (2.922,1.468,3.03,1.52), (2.978,1.468,3.062,1.52), (3.564,1.498,3.616,1.55), (3.564,1.498,3.616,1.55), (3.564,1.498,3.726,1.55), (3.674,1.498,3.726,1.55), (3.674,1.498,3.916,1.55), (3.864,1.498,3.916,1.55), (3.864,1.498,3.916,1.55), (0.346,1.558,0.398,1.778), (3.108,1.56,3.16,1.668), (0.998,1.562,1.05,1.782), (2.46,1.58,2.512,1.632), (2.46,1.58,2.512,1.632), (2.46,1.58,2.688,1.632), (2.636,1.58,2.688,1.632), (2.636,1.58,2.688,1.632), (2.636,1.58,2.688,1.632), (2.636,1.58,2.798,1.632), (2.802,1.58,2.854,1.632), (2.802,1.58,2.854,1.632), (2.802,1.58,2.964,1.632), (2.912,1.58,2.964,1.632), (2.912,1.58,3.16,1.632), (3.108,1.58,3.16,1.632), (3.108,1.58,3.16,1.632), (3.108,1.608,3.326,1.66), (3.274,1.608,3.326,1.66), (3.274,1.608,3.326,1.66), (3.274,1.608,3.326,1.66), (3.274,1.608,3.436,1.66), (3.384,1.608,3.436,1.66), (3.384,1.608,3.436,1.66), (3.384,1.608,3.436,1.66), (3.384,1.608,3.616,1.66), (3.564,1.608,3.616,2.52), (0.662,1.616,0.714,1.668), (0.662,1.616,0.714,1.668), (0.662,1.616,0.714,1.668), (0.662,1.616,0.714,1.668), (0.662,1.616,0.714,2.52), (1.27,1.672,1.378,1.836), (0.346,1.726,0.398,1.778), (0.346,1.726,0.398,1.778), (0.346,1.726,0.398,1.778), (0.346,1.726,0.398,1.778), (0.346,1.726,0.398,2.52), (0.998,1.73,1.05,2.52), (1.27,1.784,1.322,2.52), (2.122,1.888,2.23,1.94), (2.172,1.888,2.224,1.94), (2.172,1.888,2.224,1.94), (2.172,1.888,2.224,2.52), (2.054,2.026,2.114,2.168), (2.054,2.054,2.106,2.106), (0,2.468,4,2.56), (0.346,2.468,0.398,2.52), (0.346,2.468,0.398,2.52), (0.346,2.468,0.398,2.52), (0.346,2.468,0.398,2.52), (0.662,2.468,0.714,2.52), (0.662,2.468,0.714,2.52), (0.662,2.468,0.714,2.52), (0.662,2.468,0.714,2.52), (0.998,2.468,1.05,2.52), (0.998,2.468,1.05,2.52), (0.998,2.468,1.05,2.52), (0.998,2.468,1.05,2.52), (0.998,2.468,1.05,2.52), (0.998,2.468,1.05,2.52), (0.998,2.468,1.05,2.52), (0.998,2.468,1.05,2.52), (1.27,2.468,1.322,2.52), (1.27,2.468,1.322,2.52), (1.27,2.468,1.322,2.52), (1.27,2.468,1.322,2.52), (1.27,2.468,1.322,2.52), (1.27,2.468,1.322,2.52), (1.27,2.468,1.322,2.52), (1.27,2.468,1.322,2.52), (2.172,2.468,2.224,2.52), (2.172,2.468,2.224,2.52), (2.172,2.468,2.224,2.52), (2.172,2.468,2.224,2.52), (2.172,2.468,2.224,2.52), (2.172,2.468,2.224,2.52), (3.564,2.468,3.616,2.52), (3.564,2.468,3.616,2.52), (3.564,2.468,3.616,2.52), (3.564,2.468,3.616,2.52), (3.564,2.468,3.616,2.52), (3.564,2.468,3.616,2.52), (3.564,2.468,3.616,2.52), (3.564,2.468,3.616,2.52), (3.564,2.468,3.616,2.52), (3.564,2.468,3.616,2.52), (3.564,2.468,3.616,2.52), (3.564,2.468,3.616,2.52), (3.564,2.468,3.616,2.52), (3.564,2.468,3.616,2.52), (3.564,2.468,3.616,2.52), (3.564,2.468,3.616,2.52)])
R(complex25, boundary, [(0,0,4,2.56)])
complex25.add(gdstk.Label('CL1#A', (0.96,1.12), layer=11, texttype=0))
complex25.add(gdstk.Label('CL1#B', (0.8,1.12), layer=11, texttype=0))
complex25.add(gdstk.Label('CL2#A', (0.48,1.12), layer=11, texttype=0))
complex25.add(gdstk.Label('CL2#B', (0.64,1.12), layer=11, texttype=0))
complex25.add(gdstk.Label('CL2#C', (0.16,1.12), layer=11, texttype=0))
complex25.add(gdstk.Label('CL3#A', (2.72,1.12), layer=11, texttype=0))
complex25.add(gdstk.Label('CL3#B', (2.56,0.64), layer=11, texttype=0))
complex25.add(gdstk.Label('CL4#A', (2.24,1.12), layer=11, texttype=0))
complex25.add(gdstk.Label('CL4#B', (2.08,2.08), layer=11, texttype=0))
complex25.add(gdstk.Label('CL4#C', (1.92,0.8), layer=11, texttype=0))
complex25.add(gdstk.Label('CL5#B', (3.04,1.12), layer=11, texttype=0))
complex25.add(gdstk.Label('CL5#Y', (3.36,1.44), layer=11, texttype=0))
complex25.add(gdstk.Label('CL6#A', (3.84,1.12), layer=11, texttype=0))
complex25.add(gdstk.Label('CL6#B', (3.68,1.12), layer=11, texttype=0))
complex25.add(gdstk.Label('CL6#C', (3.52,1.12), layer=11, texttype=0))

lib.write_gds('COMPLEX25.gds')
